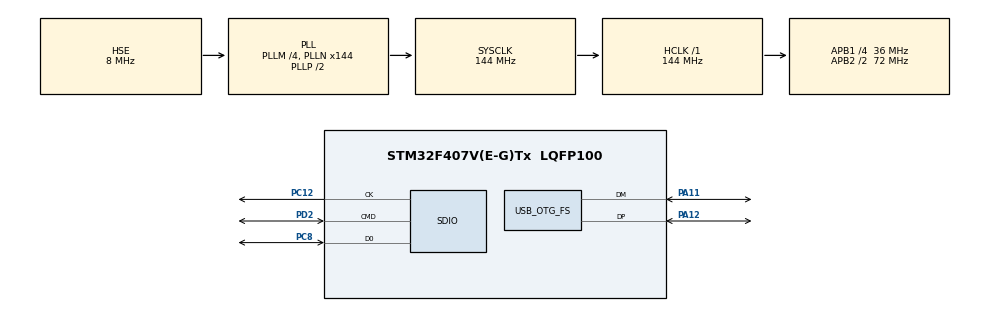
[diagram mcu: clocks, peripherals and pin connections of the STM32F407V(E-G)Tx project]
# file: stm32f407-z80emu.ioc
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Mcu.Family=STM32F4
Mcu.Name=STM32F407V(E-G)Tx
Mcu.Package=LQFP100
NVIC.PriorityGroup=NVIC_PRIORITYGROUP_4
NVIC.SDIO_IRQn=true\:1\:0\:true\:false\:true\:true\:true\:true
PA11.Mode=Device_Only
PA11.Signal=USB_OTG_FS_DM
PA12.Mode=Device_Only
PA12.Signal=USB_OTG_FS_DP
PC12.Mode=SD_1_bit
PC12.Signal=SDIO_CK
PC14-OSC32_IN.Mode=LSE-External-Oscillator
PC14-OSC32_IN.Signal=RCC_OSC32_IN
PC15-OSC32_OUT.Mode=LSE-External-Oscillator
PC15-OSC32_OUT.Signal=RCC_OSC32_OUT
PC8.Mode=SD_1_bit
PC8.Signal=SDIO_D0
PD2.Mode=SD_1_bit
PD2.Signal=SDIO_CMD
PH0-OSC_IN.Mode=HSE-External-Oscillator
PH0-OSC_IN.Signal=RCC_OSC_IN
PH1-OSC_OUT.Mode=HSE-External-Oscillator
PH1-OSC_OUT.Signal=RCC_OSC_OUT
ProjectManager.HeapSize=0x200
ProjectManager.StackSize=0x400
ProjectManager.TargetToolchain=STM32CubeIDE
RCC.48MHZClocksFreq_Value=48000000
RCC.AHBFreq_Value=144000000
RCC.APB1CLKDivider=RCC_HCLK_DIV4
RCC.APB1Freq_Value=36000000
RCC.APB1TimFreq_Value=72000000
RCC.APB2CLKDivider=RCC_HCLK_DIV2
RCC.APB2Freq_Value=72000000
RCC.APB2TimFreq_Value=144000000
RCC.CortexFreq_Value=144000000
RCC.HCLKFreq_Value=144000000
RCC.HSE_VALUE=8000000
RCC.HSI_VALUE=16000000
RCC.PLLM=4
RCC.PLLN=144
RCC.PLLQ=6
RCC.RCC_RTC_Clock_Source=RCC_RTCCLKSOURCE_LSE
RCC.RCC_RTC_Clock_SourceVirtual=RCC_RTCCLKSOURCE_LSE
RCC.SYSCLKFreq_VALUE=144000000
RCC.SYSCLKSource=RCC_SYSCLKSOURCE_PLLCLK
RCC.VCOOutputFreq_Value=288000000
SDIO.ClockDiv=6
USB_OTG_FS.VirtualMode=Device_Only
VP_RTC_VS_RTC_Activate.Mode=RTC_Enabled
board=custom

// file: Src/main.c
/* USER CODE BEGIN Header */
/**
  ******************************************************************************
  * @file           : main.c
  * @brief          : Main program body
  ******************************************************************************
  * @attention
  *
  * <h2><center>&copy; Copyright (c) 2019 STMicroelectronics.
  * All rights reserved.</center></h2>
  *
  * This software component is licensed by ST under Ultimate Liberty license
  * SLA0044, the "License"; You may not use this file except in compliance with
  * the License. You may obtain a copy of the License at:
  *                             www.st.com/SLA0044
  *
  ******************************************************************************
  */
/* USER CODE END Header */
#include "main.h"

/* USER CODE BEGIN Includes */
#include "startup.h"
#include "fatfs.h"
#include "Sound/usb_device.h"
#include "Sound/usbd_midi_if.h"
/* USER CODE END Includes */

RTC_HandleTypeDef hrtc;

SD_HandleTypeDef hsd;

extern PCD_HandleTypeDef hpcd_USB_OTG_FS;

/* USER CODE BEGIN PV */
/* Private variables ---------------------------------------------------------*/

/* USER CODE END PV */

void SystemClock_Config(void);
static void MX_GPIO_Init(void);
__attribute__((used))
static void MX_SDIO_SD_Init(void);
static void MX_RTC_Init(void);
static void MX_USB_OTG_FS_PCD_Init(void);
/* USER CODE BEGIN PFP */
/* Private function prototypes -----------------------------------------------*/

/* USER CODE END PFP */

int main(void)
{

  /* MCU Configuration--------------------------------------------------------*/

  /* Reset of all peripherals, Initializes the Flash interface and the Systick. */
  HAL_Init();

  /* Configure the system clock */
  SystemClock_Config();

  /* USER CODE BEGIN SysInit */
  initialize();
  /* USER CODE END SysInit */

  /* Initialize all configured peripherals */
  MX_GPIO_Init();
  MX_RTC_Init();
  MX_USB_OTG_FS_PCD_Init();
  /* USER CODE BEGIN 2 */

#ifndef BOARD2
  MX_SDIO_SD_Init();
#endif

  // USB MIDI
  HAL_NVIC_SetPriority(OTG_FS_IRQn, 2, 0);
  HAL_NVIC_EnableIRQ(OTG_FS_IRQn);
  MX_USB_DEVICE_Init();

  /**SDIO GPIO Configuration
    PC8     ------> SDIO_D0  (initialized in MX_SDIO_SD_Init)
    PC9     ------> SDIO_D1
    PC10    ------> SDIO_D2
    PC11    ------> SDIO_D3
    PC12    ------> SDIO_CK  (initialized in MX_SDIO_SD_Init)
    PD2     ------> SDIO_CMD (initialized in MX_SDIO_SD_Init)
  */
  GPIO_InitTypeDef GPIO_InitStruct;
  GPIO_InitStruct.Pin = GPIO_PIN_9|GPIO_PIN_10|GPIO_PIN_11;
  GPIO_InitStruct.Mode = GPIO_MODE_AF_PP;
  GPIO_InitStruct.Pull = GPIO_NOPULL;
  GPIO_InitStruct.Speed = GPIO_SPEED_FREQ_VERY_HIGH;
  GPIO_InitStruct.Alternate = GPIO_AF12_SDIO;
  HAL_GPIO_Init(GPIOC, &GPIO_InitStruct);

  MX_FATFS_Init();
  setup();
  /* USER CODE END 2 */

  /* Infinite loop */
  /* USER CODE BEGIN WHILE */
  while (1)
  {
	  loop();
    /* USER CODE END WHILE */

  }
}

void SystemClock_Config(void)
{
  RCC_OscInitTypeDef RCC_OscInitStruct = {0};
  RCC_ClkInitTypeDef RCC_ClkInitStruct = {0};

  /** Configure the main internal regulator output voltage
  */
  __HAL_RCC_PWR_CLK_ENABLE();
  __HAL_PWR_VOLTAGESCALING_CONFIG(PWR_REGULATOR_VOLTAGE_SCALE1);

  /** Initializes the RCC Oscillators according to the specified parameters
  * in the RCC_OscInitTypeDef structure.
  */
  RCC_OscInitStruct.OscillatorType = RCC_OSCILLATORTYPE_HSE|RCC_OSCILLATORTYPE_LSE;
  RCC_OscInitStruct.HSEState = RCC_HSE_ON;
  RCC_OscInitStruct.LSEState = RCC_LSE_ON;
  RCC_OscInitStruct.PLL.PLLState = RCC_PLL_ON;
  RCC_OscInitStruct.PLL.PLLSource = RCC_PLLSOURCE_HSE;
  RCC_OscInitStruct.PLL.PLLM = 4;
  RCC_OscInitStruct.PLL.PLLN = 144;
  RCC_OscInitStruct.PLL.PLLP = RCC_PLLP_DIV2;
  RCC_OscInitStruct.PLL.PLLQ = 6;
  if (HAL_RCC_OscConfig(&RCC_OscInitStruct) != HAL_OK)
  {
    Error_Handler();
  }

  /** Initializes the CPU, AHB and APB buses clocks
  */
  RCC_ClkInitStruct.ClockType = RCC_CLOCKTYPE_HCLK|RCC_CLOCKTYPE_SYSCLK
                              |RCC_CLOCKTYPE_PCLK1|RCC_CLOCKTYPE_PCLK2;
  RCC_ClkInitStruct.SYSCLKSource = RCC_SYSCLKSOURCE_PLLCLK;
  RCC_ClkInitStruct.AHBCLKDivider = RCC_SYSCLK_DIV1;
  RCC_ClkInitStruct.APB1CLKDivider = RCC_HCLK_DIV4;
  RCC_ClkInitStruct.APB2CLKDivider = RCC_HCLK_DIV2;

  if (HAL_RCC_ClockConfig(&RCC_ClkInitStruct, FLASH_LATENCY_4) != HAL_OK)
  {
    Error_Handler();
  }
}

static void MX_RTC_Init(void)
{

  /** Initialize RTC Only
  */
  hrtc.Instance = RTC;
  hrtc.Init.HourFormat = RTC_HOURFORMAT_24;
  hrtc.Init.AsynchPrediv = 127;
  hrtc.Init.SynchPrediv = 255;
  hrtc.Init.OutPut = RTC_OUTPUT_DISABLE;
  hrtc.Init.OutPutPolarity = RTC_OUTPUT_POLARITY_HIGH;
  hrtc.Init.OutPutType = RTC_OUTPUT_TYPE_OPENDRAIN;
  if (HAL_RTC_Init(&hrtc) != HAL_OK)
  {
    Error_Handler();
  }

}

static void MX_SDIO_SD_Init(void)
{

  hsd.Instance = SDIO;
  hsd.Init.ClockEdge = SDIO_CLOCK_EDGE_RISING;
  hsd.Init.ClockBypass = SDIO_CLOCK_BYPASS_DISABLE;
  hsd.Init.ClockPowerSave = SDIO_CLOCK_POWER_SAVE_DISABLE;
  hsd.Init.BusWide = SDIO_BUS_WIDE_1B;
  hsd.Init.HardwareFlowControl = SDIO_HARDWARE_FLOW_CONTROL_DISABLE;
  hsd.Init.ClockDiv = 6;
  if (HAL_SD_Init(&hsd) != HAL_OK)
  {
    Error_Handler();
  }

}

static void MX_USB_OTG_FS_PCD_Init(void)
{

  hpcd_USB_OTG_FS.Instance = USB_OTG_FS;
  hpcd_USB_OTG_FS.Init.dev_endpoints = 4;
  hpcd_USB_OTG_FS.Init.speed = PCD_SPEED_FULL;
  hpcd_USB_OTG_FS.Init.dma_enable = DISABLE;
  hpcd_USB_OTG_FS.Init.phy_itface = PCD_PHY_EMBEDDED;
  hpcd_USB_OTG_FS.Init.Sof_enable = DISABLE;
  hpcd_USB_OTG_FS.Init.low_power_enable = DISABLE;
  hpcd_USB_OTG_FS.Init.lpm_enable = DISABLE;
  hpcd_USB_OTG_FS.Init.vbus_sensing_enable = DISABLE;
  hpcd_USB_OTG_FS.Init.use_dedicated_ep1 = DISABLE;
  if (HAL_PCD_Init(&hpcd_USB_OTG_FS) != HAL_OK)
  {
    Error_Handler();
  }

}

static void MX_GPIO_Init(void)
{

  /* GPIO Ports Clock Enable */
  __HAL_RCC_GPIOC_CLK_ENABLE();
  __HAL_RCC_GPIOH_CLK_ENABLE();
  __HAL_RCC_GPIOA_CLK_ENABLE();
  __HAL_RCC_GPIOD_CLK_ENABLE();

}

void Error_Handler(void)
{
  while(1)
  {
  }
}
